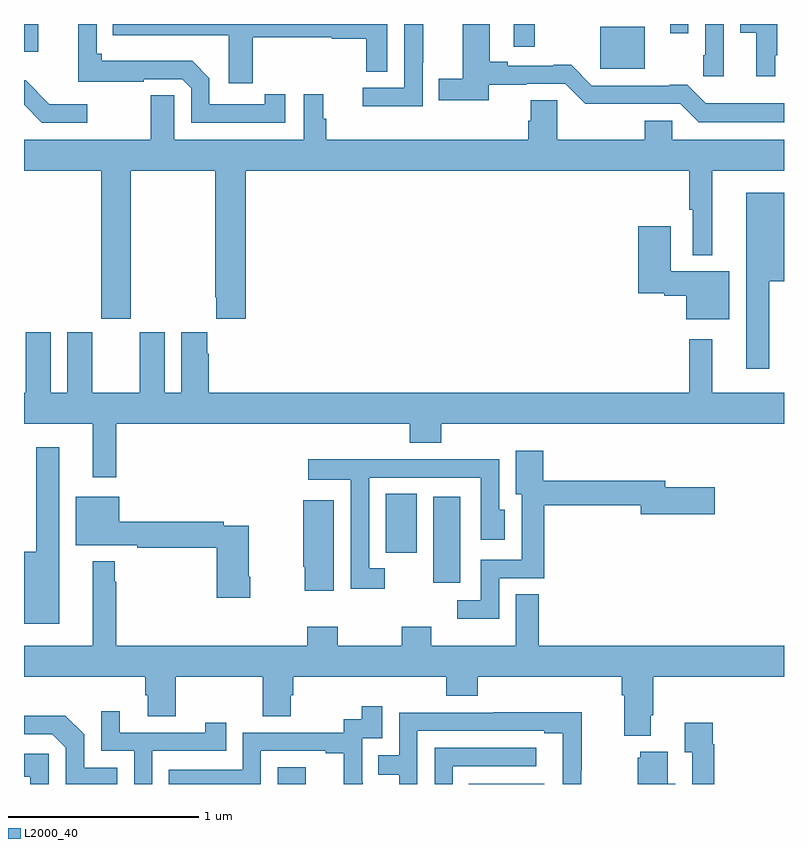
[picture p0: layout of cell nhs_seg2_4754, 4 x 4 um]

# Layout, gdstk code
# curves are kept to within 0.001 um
import gdstk
lib = gdstk.Library(unit=1e-6, precision=1e-09)
def R(c, l, rs):  # rectangles x0, y0, x1, y1
    for r in rs: c.add(gdstk.rectangle(r[:2], r[2:], *l))
def P(c, l, *ps):  # polygons
    for p in ps: c.add(gdstk.Polygon(p, *l))
L2000_40 = (2000, 40)

nhs_seg2_4754 = lib.new_cell('nhs_seg2_4754')
R(nhs_seg2_4754, L2000_40, [(372.336,585.8,372.484,585.889), (373.342,585.8,373.738,585.802), (373.154,586.86,373.297,587.311), (372.905,587.016,373.066,587.327), (374.033,589.565,374.266,589.786), (371,589.653,371.074,589.8), (373.578,589.68,373.687,589.8), (374.402,589.752,374.496,589.8)])
P(nhs_seg2_4754, L2000_40, [(373.098,589.597),(373.1,589.597),(373.1,589.8),(373.002,589.8),(373.002,589.464),(372.783,589.464),(372.783,589.367),(373.098,589.367)],
  [(372.205,589.731),(372.619,589.731),(372.619,589.723),(372.8,589.723),(372.8,589.549),(372.912,589.549),(372.912,589.8),(371.467,589.8),(371.467,589.742),(372.077,589.742),(372.077,589.488),(372.205,589.488)],
  [(372.376,589.429),(372.266,589.429),(372.266,589.377),(371.976,589.377),(371.976,589.515),(371.885,589.606),(371.41,589.606),(371.41,589.644),(371.382,589.644),(371.382,589.8),(371.285,589.8),(371.285,589.497),(371.629,589.497),(371.629,589.509),(371.832,589.509),(371.88,589.461),(371.88,589.281),(372.376,589.281)],
  [(374.682,589.8),(374.586,589.8),(374.586,589.636),(374.574,589.636),(374.574,589.524),(374.682,589.524)],
  [(374.954,589.636),(374.965,589.636),(374.965,589.8),(374.771,589.8),(374.771,589.753),(374.855,589.753),(374.855,589.524),(374.954,589.524)],
  [(375,589.384),(374.589,589.383),(374.491,589.481),(374.399,589.481),(374.399,589.476),(373.989,589.476),(373.879,589.586),(373.787,589.586),(373.787,589.581),(373.546,589.581),(373.546,589.601),(373.45,589.601),(373.45,589.8),(373.31,589.8),(373.31,589.511),(373.183,589.511),(373.183,589.4),(373.447,589.4),(373.447,589.48),(373.644,589.48),(373.644,589.485),(373.848,589.485),(373.955,589.379),(374.454,589.38),(374.551,589.283),(375,589.283)],
  [(371.332,589.378),(371.134,589.378),(371.008,589.504),(371,589.504),(371,589.374),(371.093,589.281),(371.332,589.281)],
  [(371.562,589.028),(372.007,589.028),(372.007,588.361),(372.011,588.361),(372.011,588.249),(372.167,588.249),(372.167,589.028),(374.502,589.028),(374.502,588.823),(374.519,588.823),(374.519,588.584),(374.623,588.584),(374.623,589.028),(375,589.028),(375,589.192),(374.412,589.192),(374.412,589.29),(374.266,589.29),(374.266,589.192),(373.806,589.192),(373.806,589.4),(373.667,589.4),(373.667,589.29),(373.655,589.29),(373.655,589.192),(372.592,589.192),(372.592,589.302),(372.574,589.302),(372.574,589.429),(372.473,589.429),(372.473,589.192),(371.79,589.192),(371.79,589.424),(371.668,589.424),(371.668,589.192),(371,589.192),(371,589.028),(371.407,589.028),(371.407,588.249),(371.562,588.249)],
  [(374.923,588.446),(375,588.446),(375,588.913),(374.801,588.913),(374.801,587.985),(374.923,587.985)],
  [(374.713,588.499),(374.404,588.499),(374.404,588.736),(374.234,588.736),(374.234,588.383),(374.37,588.383),(374.37,588.371),(374.486,588.371),(374.486,588.245),(374.713,588.245)],
  [(371.485,587.696),(373.031,587.696),(373.031,587.597),(373.196,587.597),(373.196,587.696),(375,587.696),(375,587.86),(374.623,587.86),(374.623,588.142),(374.502,588.142),(374.502,587.86),(371.972,587.86),(371.972,588.065),(371.965,588.065),(371.965,588.178),(371.828,588.178),(371.828,587.86),(371.74,587.86),(371.74,588.178),(371.609,588.178),(371.609,587.86),(371.359,587.86),(371.359,588.178),(371.228,588.178),(371.228,587.86),(371.14,587.86),(371.14,588.178),(371.009,588.178),(371.009,587.86),(371,587.86),(371,587.696),(371.363,587.696),(371.363,587.415),(371.485,587.415)],
  [(371.185,587.572),(371.064,587.572),(371.064,587.023),(371,587.023),(371,586.643),(371.185,586.643)],
  [(373.5,586.884),(373.738,586.884),(373.738,587.266),(374.246,587.266),(374.246,587.219),(374.635,587.219),(374.635,587.361),(374.374,587.361),(374.374,587.395),(373.733,587.395),(373.733,587.554),(373.589,587.554),(373.589,587.325),(373.619,587.325),(373.619,586.98),(373.404,586.98),(373.404,586.767),(373.281,586.767),(373.281,586.67),(373.5,586.67)],
  [(372.898,586.935),(372.816,586.935),(372.816,587.412),(373.404,587.412),(373.404,587.085),(373.531,587.085),(373.531,587.244),(373.5,587.244),(373.5,587.51),(373.279,587.51),(373.279,587.508),(372.913,587.508),(372.913,587.51),(372.495,587.51),(372.495,587.402),(372.72,587.402),(372.72,586.827),(372.898,586.827)],
  [(372.192,586.891),(372.184,586.891),(372.184,587.16),(372.05,587.16),(372.05,587.18),(371.5,587.18),(371.5,587.311),(371.273,587.311),(371.273,587.057),(371.596,587.057),(371.596,587.044),(372.014,587.044),(372.014,586.779),(372.192,586.779)],
  [(372.631,587.293),(372.47,587.293),(372.47,586.944),(372.478,586.944),(372.478,586.818),(372.631,586.818)],
  [(374.299,586.162),(374.312,586.162),(374.312,586.364),(375,586.364),(375,586.528),(373.708,586.528),(373.708,586.799),(373.589,586.799),(373.589,586.528),(373.143,586.528),(373.143,586.627),(372.988,586.627),(372.988,586.528),(372.651,586.528),(372.651,586.627),(372.491,586.627),(372.491,586.528),(371.485,586.528),(371.485,586.865),(371.478,586.865),(371.478,586.972),(371.363,586.972),(371.363,586.528),(371,586.528),(371,586.364),(371.639,586.364),(371.639,586.266),(371.651,586.266),(371.651,586.156),(371.799,586.156),(371.799,586.364),(372.256,586.364),(372.256,586.156),(372.403,586.156),(372.403,586.266),(372.416,586.266),(372.416,586.364),(373.223,586.364),(373.223,586.265),(373.388,586.265),(373.388,586.364),(374.147,586.364),(374.147,586.268),(374.159,586.268),(374.159,586.055),(374.299,586.055)],
  [(372.246,585.975),(372.587,585.975),(372.587,585.963),(372.683,585.963),(372.683,585.8),(372.782,585.8),(372.782,585.812),(372.78,585.812),(372.78,586.041),(372.885,586.041),(372.885,586.21),(372.777,586.21),(372.777,586.14),(372.684,586.14),(372.684,586.071),(372.15,586.071),(372.15,585.876),(371.761,585.876),(371.761,585.8),(372.246,585.8)],
  [(371.676,585.975),(372.065,585.975),(372.065,586.123),(371.954,586.123),(371.954,586.071),(371.503,586.071),(371.503,586.183),(371.406,586.183),(371.406,585.975),(371.58,585.975),(371.58,585.8),(371.676,585.8)],
  [(373.071,586.08),(373.739,586.08),(373.739,586.068),(373.836,586.068),(373.836,585.8),(373.932,585.8),(373.932,585.871),(373.935,585.871),(373.935,586.178),(373.471,586.178),(373.471,586.176),(372.975,586.176),(372.975,585.951),(372.865,585.951),(372.865,585.85),(372.975,585.85),(372.975,585.8),(373.071,585.8)],
  [(371.49,585.885),(371.316,585.885),(371.316,586.062),(371.218,586.16),(371,586.16),(371,586.062),(371.148,586.062),(371.22,585.99),(371.22,585.8),(371.49,585.8)],
  [(374.633,586.01),(374.626,586.01),(374.626,586.123),(374.477,586.123),(374.477,585.967),(374.517,585.967),(374.517,585.8),(374.633,585.8)],
  [(373.257,585.894),(373.696,585.894),(373.696,585.99),(373.161,585.99),(373.161,585.8),(373.257,585.8)],
  [(374.428,585.802),(374.389,585.802),(374.389,585.97),(374.243,585.97),(374.243,585.939),(374.231,585.939),(374.231,585.8),(374.428,585.8)],
  [(371.13,585.958),(371,585.958),(371,585.837),(371.033,585.837),(371.033,585.8),(371.13,585.8)])

lib.write_gds('nhs_seg2_4754.gds')
